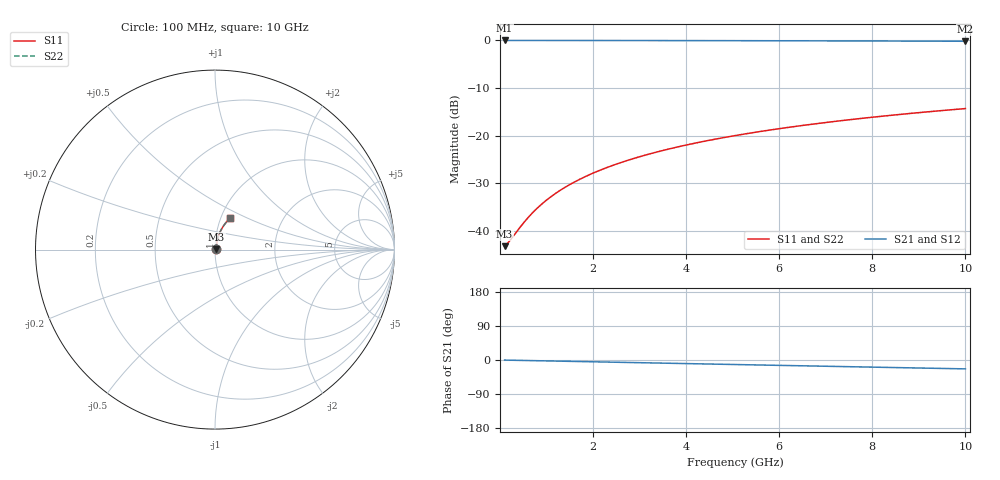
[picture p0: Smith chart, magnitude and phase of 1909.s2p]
# Hz S RI R 50.00
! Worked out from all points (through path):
!   100 points, 100 MHz to 10 GHz, reference 50 ohm
!   highest |S21| = -0.06 dB at 100 MHz (marker M1); lowest = -0.2 dB at 10 GHz (marker M2)
!   group delay of S21, straight-line fit = 6.51 ps
!   lowest |S11| = -43.2 dB at 100 MHz (marker M3), VSWR 1.01, Z = 50.7 + j0.2 ohm
!   |S11| at or under -10 dB: start of sweep to end of sweep
!   |S22| runs from -43.2 to -14.3 dB; largest |S21 - S12| = 0
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1e8  0.00667 0.00197  0.9933 -0.00411  0.9933 -0.00411  0.00667 0.00197
2e8  0.00674 0.00394  0.9932 -0.00821  0.9932 -0.00821  0.00674 0.00394
5e8  0.00699 0.00985  0.9929 -0.0205  0.9929 -0.0205  0.00699 0.00985
6e8  0.00709 0.0118  0.9928 -0.0246  0.9928 -0.0246  0.00709 0.0118
7e8  0.00722 0.0138  0.9927 -0.0287  0.9927 -0.0287  0.00722 0.0138
9e8  0.00751 0.0177  0.9923 -0.0369  0.9923 -0.0369  0.00751 0.0177
1.1e9  0.00786 0.0216  0.9918 -0.0451  0.9918 -0.0451  0.00786 0.0216
1.3e9  0.00827 0.0255  0.9913 -0.0533  0.9913 -0.0533  0.00827 0.0255
1.5e9  0.00875 0.0294  0.9907 -0.0615  0.9907 -0.0615  0.00875 0.0294
1.8e9  0.00958 0.0353  0.9896 -0.0737  0.9896 -0.0737  0.00958 0.0353
2.1e9  0.0106 0.0411  0.9884 -0.086  0.9884 -0.086  0.0106 0.0411
2.5e9  0.0121 0.0488  0.9864 -0.1022  0.9864 -0.1022  0.0121 0.0488
2.9e9  0.0138 0.0565  0.9842 -0.1184  0.9842 -0.1184  0.0138 0.0565
3.4e9  0.0164 0.0659  0.9809 -0.1386  0.9809 -0.1386  0.0164 0.0659
3.8e9  0.0187 0.0734  0.9779 -0.1546  0.9779 -0.1546  0.0187 0.0734
4.2e9  0.0213 0.0808  0.9746 -0.1706  0.9746 -0.1706  0.0213 0.0808
5.1e9  0.0279 0.0971  0.966 -0.2061  0.966 -0.2061  0.0279 0.0971
5.9e9  0.0348 0.1111  0.9571 -0.2372  0.9571 -0.2372  0.0348 0.1111
6.7e9  0.0426 0.1245  0.947 -0.2678  0.947 -0.2678  0.0426 0.1245
7.5e9  0.0511 0.1374  0.9357 -0.2978  0.9357 -0.2978  0.0511 0.1374
8.4e9  0.0617 0.1511  0.9218 -0.3308  0.9218 -0.3308  0.0617 0.1511
1e10  0.0828 0.1733  0.8938 -0.3873  0.8938 -0.3873  0.0828 0.1733
